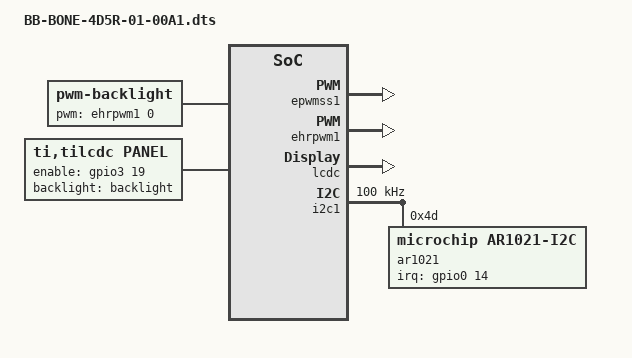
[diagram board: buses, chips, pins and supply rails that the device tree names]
// SPDX-License-Identifier: GPL-2.0-only
/*
 * Copyright (C) 2012 Texas Instruments Incorporated - https://www.ti.com/
 */

/dts-v1/;
/plugin/;

#include <dt-bindings/gpio/gpio.h>
#include <dt-bindings/interrupt-controller/irq.h>
#include <dt-bindings/pinctrl/am33xx.h>

/*
 * Helper to show loaded overlays under: /proc/device-tree/chosen/overlays/
 */
&{/chosen} {
	overlays {
		BB-BONE-4D5R-01-00A1.kernel = __TIMESTAMP__;
	};
};

/*
 * Free up the pins used by the cape from the pinmux helpers.
 */
&ocp {
	P8_45_pinmux { status = "disabled"; };	/* lcd: lcd_data0 */
	P8_46_pinmux { status = "disabled"; };	/* lcd: lcd_data1 */
	P8_43_pinmux { status = "disabled"; };	/* lcd: lcd_data2 */
	P8_44_pinmux { status = "disabled"; };	/* lcd: lcd_data3 */
	P8_41_pinmux { status = "disabled"; };	/* lcd: lcd_data4 */
	P8_42_pinmux { status = "disabled"; };	/* lcd: lcd_data5 */
	P8_39_pinmux { status = "disabled"; };	/* lcd: lcd_data6 */
	P8_40_pinmux { status = "disabled"; };	/* lcd: lcd_data7 */
	P8_37_pinmux { status = "disabled"; };	/* lcd: lcd_data8 */
	P8_38_pinmux { status = "disabled"; };	/* lcd: lcd_data9 */
	P8_36_pinmux { status = "disabled"; };	/* lcd: lcd_data10 */
	P8_34_pinmux { status = "disabled"; };	/* lcd: lcd_data11 */
	P8_35_pinmux { status = "disabled"; };	/* lcd: lcd_data12 */
	P8_33_pinmux { status = "disabled"; };	/* lcd: lcd_data13 */
	P8_31_pinmux { status = "disabled"; };	/* lcd: lcd_data14 */
	P8_32_pinmux { status = "disabled"; };	/* lcd: lcd_data15 */

	P8_27_pinmux { status = "disabled"; };	/* lcd: lcd_vsync */
	P8_29_pinmux { status = "disabled"; };	/* lcd: lcd_hsync */
	P8_28_pinmux { status = "disabled"; };	/* lcd: lcd_pclk */
	P8_30_pinmux { status = "disabled"; };	/* lcd: lcd_ac_bias_en */

	P9_27_pinmux { status = "disabled"; };	/* lcd: gpio3_19 DISPEN */

	P9_14_pinmux { status = "disabled"; };	/* pwm: ehrpwm1a PWM_BL */

	P9_18_pinmux { status = "disabled"; };	/* i2c1_sda */
	P9_17_pinmux { status = "disabled"; };	/* i2c1_scl */
	P9_26_pinmux { status = "disabled"; };	/* touch interrupt on gpio0_14 */
};

&am33xx_pinmux {
	bb_lcd_pwm_backlight_pins: pinmux_bb_lcd_pwm_backlight_pins {
		pinctrl-single,pins = <
			AM33XX_PADCONF(AM335X_PIN_GPMC_A2, PIN_OUTPUT, MUX_MODE6) /* gpmc_a2.ehrpwm1a, OMAP_MUX_MODE6 | AM33XX_PIN_OUTPUT */
		>;
	};

	bb_lcd_lcd_pins: pinmux_bb_lcd_lcd_pins {
		pinctrl-single,pins = <
			/*LCD enable */
			AM33XX_PADCONF(AM335X_PIN_MCASP0_FSR, PIN_OUTPUT, MUX_MODE7) /* mcasp0_fsr.gpio3_19, OUTPUT | MODE7  LCD DISEN */

			AM33XX_PADCONF(AM335X_PIN_LCD_DATA0, PIN_OUTPUT, MUX_MODE0)
			AM33XX_PADCONF(AM335X_PIN_LCD_DATA1, PIN_OUTPUT, MUX_MODE0)
			AM33XX_PADCONF(AM335X_PIN_LCD_DATA2, PIN_OUTPUT, MUX_MODE0)
			AM33XX_PADCONF(AM335X_PIN_LCD_DATA3, PIN_OUTPUT, MUX_MODE0)
			AM33XX_PADCONF(AM335X_PIN_LCD_DATA4, PIN_OUTPUT, MUX_MODE0)
			AM33XX_PADCONF(AM335X_PIN_LCD_DATA5, PIN_OUTPUT, MUX_MODE0)
			AM33XX_PADCONF(AM335X_PIN_LCD_DATA6, PIN_OUTPUT, MUX_MODE0)
			AM33XX_PADCONF(AM335X_PIN_LCD_DATA7, PIN_OUTPUT, MUX_MODE0)
			AM33XX_PADCONF(AM335X_PIN_LCD_DATA8, PIN_OUTPUT, MUX_MODE0)
			AM33XX_PADCONF(AM335X_PIN_LCD_DATA9, PIN_OUTPUT, MUX_MODE0)
			AM33XX_PADCONF(AM335X_PIN_LCD_DATA10, PIN_OUTPUT, MUX_MODE0)
			AM33XX_PADCONF(AM335X_PIN_LCD_DATA11, PIN_OUTPUT, MUX_MODE0)
			AM33XX_PADCONF(AM335X_PIN_LCD_DATA12, PIN_OUTPUT, MUX_MODE0)
			AM33XX_PADCONF(AM335X_PIN_LCD_DATA13, PIN_OUTPUT, MUX_MODE0)
			AM33XX_PADCONF(AM335X_PIN_LCD_DATA14, PIN_OUTPUT, MUX_MODE0)
			AM33XX_PADCONF(AM335X_PIN_LCD_DATA15, PIN_OUTPUT, MUX_MODE0)

			AM33XX_PADCONF(AM335X_PIN_LCD_VSYNC, PIN_OUTPUT, MUX_MODE0)
			AM33XX_PADCONF(AM335X_PIN_LCD_HSYNC, PIN_OUTPUT, MUX_MODE0)
			AM33XX_PADCONF(AM335X_PIN_LCD_PCLK, PIN_OUTPUT, MUX_MODE0)
			AM33XX_PADCONF(AM335X_PIN_LCD_AC_BIAS_EN, PIN_OUTPUT, MUX_MODE0)
		>;
	};

	bb_i2c1_pins: pinmux_bb_i2c1_pins {
		pinctrl-single,pins = <
			AM33XX_IOPAD(0x958, PIN_INPUT_PULLUP | SLEWCTRL_SLOW | MUX_MODE2) /* spi0_d1.i2c1_sda */
			AM33XX_IOPAD(0x95C, PIN_INPUT_PULLUP | SLEWCTRL_SLOW | MUX_MODE2) /* spi0_cs0.i2c1_scl */
		>;
	};

	ar1021_pins: pinmux_ar1021_pins {
		pinctrl-single,pins = <
			AM33XX_PADCONF(AM335X_PIN_UART1_RXD, PIN_INPUT, MUX_MODE7)
		>;
	};
};

&epwmss1 {
	status = "okay";
};

&ehrpwm1 {
	pinctrl-names = "default";
	pinctrl-0 = <&bb_lcd_pwm_backlight_pins>;
	status = "okay";
};

&lcdc {
	status = "okay";

	blue-and-red-wiring = "straight";

	//FIXME - LCD doesn't init...
	//port {
	//	lcdc_0: endpoint@0 {
	//		remote-endpoint = <&panel_0>;
	//	};
	//};
};

&i2c1 {
	status = "okay";
	pinctrl-names = "default";
	pinctrl-0 = <&bb_i2c1_pins>;

	clock-frequency = <100000>;

	#address-cells = <1>;
	#size-cells = <0>;

	ar1021: ar1021@4d {
		status = "okay";
		compatible = "microchip,ar1021-i2c";
		reg = <0x4d>;
		pinctrl-names = "default";
		pinctrl-0 = <&ar1021_pins>;
		interrupt-parent = <&gpio0>;
		interrupts = <14 IRQ_TYPE_LEVEL_HIGH>;

		touchscreen-offset-x=<250>;
		touchscreen-offset-y=<300>;

		touchscreen-inverted-y;
	};
};

&{/} {
	backlight: backlight {
		status = "okay";
		compatible = "pwm-backlight";
		pwms = <&ehrpwm1 0 500000 0>;
		brightness-levels = <
			0  1  2  3  4  5  6  7  8  9
			10 11 12 13 14 15 16 17 18 19
			20 21 22 23 24 25 26 27 28 29
			30 31 32 33 34 35 36 37 38 39
			40 41 42 43 44 45 46 47 48 49
			50 51 52 53 54 55 56 57 58 59
			60 61 62 63 64 65 66 67 68 69
			70 71 72 73 74 75 76 77 78 79
			80 81 82 83 84 85 86 87 88 89
			90 91 92 93 94 95 96 97 98 99
			100
		>;
		default-brightness-level = <100>;
	};

	panel {
		status = "okay";
		compatible = "ti,tilcdc,panel";
		pinctrl-names = "default";
		pinctrl-0 = <&bb_lcd_lcd_pins>;
		backlight = <&backlight>;
		enable-gpios = <&gpio3 19 0>;

		//FIXME - LCD doesn't init...
		//port {
		//	panel_0: endpoint@0 {
		//		remote-endpoint = <&lcdc_0>;
		//	};
		//};

		panel-info {
			ac-bias           = <255>;
			ac-bias-intrpt    = <0>;
			dma-burst-sz      = <16>;
			bpp               = <16>;
			fdd               = <0x80>;
			sync-edge         = <0>;
			sync-ctrl         = <1>;
			raster-order      = <0>;
			fifo-th           = <0>;
		};

		display-timings {
			native-mode = <&timing0>;
			/* Settings for ThreeFive S9700RTWV35TR / LCD7 cape: */
			timing0: 800x480 {
				clock-frequency = <30000000>;
				hactive = <800>;
				vactive = <480>;
				hfront-porch = <40>;
				hback-porch = <40>;
				hsync-len = <48>;
				vback-porch = <30>;
				vfront-porch = <13>;
				vsync-len = <3>;
				hsync-active = <0>;
				vsync-active = <0>;
				de-active = <1>;
				pixelclk-active = <0>;
			};
		};
	};
};
